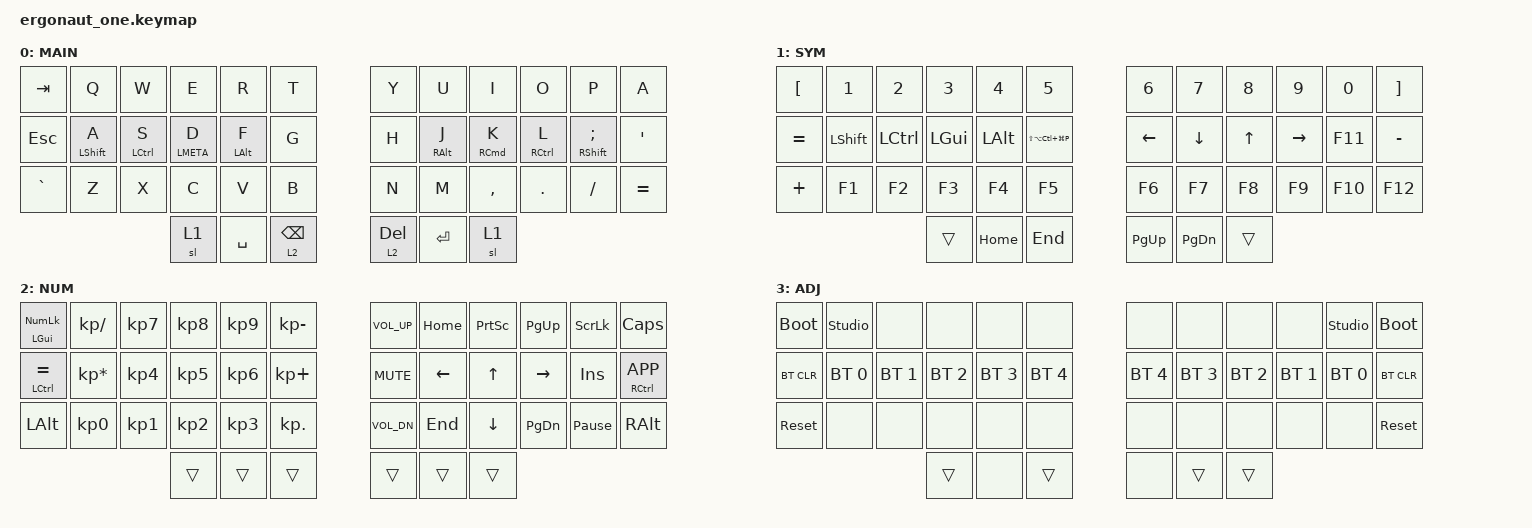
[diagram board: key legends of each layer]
#include <behaviors.dtsi>
#include <dt-bindings/zmk/bt.h>
#include <dt-bindings/zmk/keys.h>

#define DEF 0
#define LWR 1
#define RSE 2
#define ADJ 3

&lt { quick-tap-ms = <400>; };

&mt {
    quick-tap-ms = <400>;
    flavor = "tap-preferred";
};

/ {
    conditional_layers {
        compatible = "zmk,conditional-layers";

        tri-layer {
            if-layers = <1 2>;
            then-layer = <3>;
        };
    };

    keymap {
        compatible = "zmk,keymap";

        default_layer {
            display-name = "MAIN";
            bindings = <
&kp TAB    &kp Q        &kp W        &kp E        &kp R       &kp T            &kp Y         &kp U            &kp I                &kp O        &kp P                &kp A
&kp ESC    &mt LSHFT A  &mt LCTRL S  &mt LMETA D  &mt LALT F  &kp G            &kp H         &mt RIGHT_ALT J  &mt RIGHT_COMMAND K  &mt RCTRL L  &mt RSHFT SEMICOLON  &kp SQT
&kp GRAVE  &kp Z        &kp X        &kp C        &kp V       &kp B            &kp N         &kp M            &kp COMMA            &kp DOT      &kp FSLH             &kp EQUAL
                                     &sl 1        &kp SPACE   &lt 2 BACKSPACE  &lt 2 DELETE  &kp ENTER        &sl 1
            >;
        };

        lower_layer {
            display-name = "SYM";
            bindings = <
&kp LEFT_BRACKET  &kp NUMBER_1  &kp NUMBER_2      &kp NUMBER_3  &kp NUMBER_4  &kp NUMBER_5           &kp N6       &kp N7         &kp N8        &kp N9     &kp N0   &kp RIGHT_BRACKET
&kp EQUAL         &kp LSHFT     &kp LEFT_CONTROL  &kp LEFT_GUI  &kp LEFT_ALT  &kp LS(LA(LC(LG(P))))  &kp LEFT     &kp DOWN       &kp UP_ARROW  &kp RIGHT  &kp F11  &kp MINUS
&kp PLUS          &kp F1        &kp F2            &kp F3        &kp F4        &kp F5                 &kp F6       &kp F7         &kp F8        &kp F9     &kp F10  &kp F12
                                                  &trans        &kp HOME      &kp END                &kp PAGE_UP  &kp PAGE_DOWN  &trans
            >;
        };

        raise_layer {
            display-name = "NUM";
            bindings = <
&mt LGUI KP_NUM  &kp KP_SLASH     &kp KP_N7  &kp KP_N8  &kp KP_N9  &kp KP_MINUS  &kp C_VOL_UP  &kp HOME  &kp PSCRN  &kp PG_UP  &kp SLCK         &kp CLCK
&mt LCTRL EQUAL  &kp KP_MULTIPLY  &kp KP_N4  &kp KP_N5  &kp KP_N6  &kp KP_PLUS   &kp C_MUTE    &kp LEFT  &kp UP     &kp RIGHT  &kp INS          &mt RCTRL K_APP
&kp LALT         &kp KP_N0        &kp KP_N1  &kp KP_N2  &kp KP_N3  &kp KP_DOT    &kp C_VOL_DN  &kp END   &kp DOWN   &kp PG_DN  &kp PAUSE_BREAK  &kp RALT
                                             &trans     &trans     &trans        &trans        &trans    &trans
            >;
        };

        adjust_layer {
            display-name = "ADJ";
            bindings = <
&bootloader  &studio_unlock  &none         &none         &none         &none         &none         &none         &none         &none         &studio_unlock  &bootloader
&bt BT_CLR   &bt BT_SEL 0    &bt BT_SEL 1  &bt BT_SEL 2  &bt BT_SEL 3  &bt BT_SEL 4  &bt BT_SEL 4  &bt BT_SEL 3  &bt BT_SEL 2  &bt BT_SEL 1  &bt BT_SEL 0    &bt BT_CLR
&sys_reset   &none           &none         &none         &none         &none         &none         &none         &none         &none         &none           &sys_reset
                                           &trans        &none         &trans        &none         &trans        &trans
            >;
        };
    };
};
